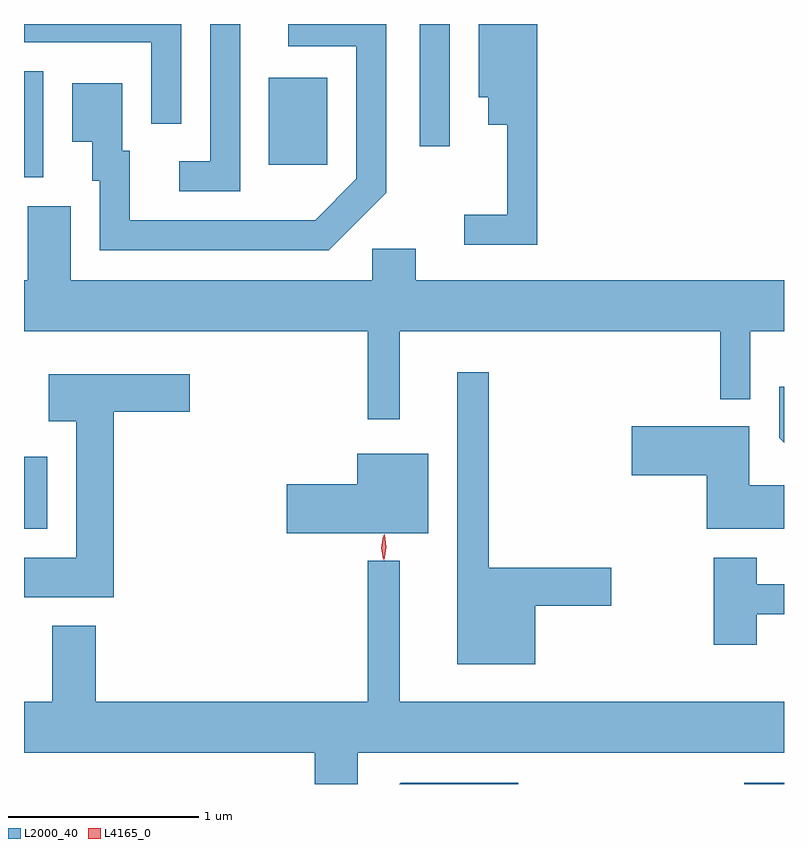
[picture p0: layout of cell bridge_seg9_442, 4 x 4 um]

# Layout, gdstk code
import gdstk
lib = gdstk.Library(unit=1e-6, precision=1e-09)
def R(c, l, rs):  # rectangles x0, y0, x1, y1
    for r in rs: c.add(gdstk.rectangle(r[:2], r[2:], *l))
def P(c, l, *ps):  # polygons
    for p in ps: c.add(gdstk.Polygon(p, *l))
L2000_40 = (2000, 40)
L4165_0 = (4165, 0)

bridge_seg9_442 = lib.new_cell('bridge_seg9_442')
R(bridge_seg9_442, L2000_40, [(430.083,1984.992,430.292,1984.999), (426.292,1986.336,426.414,1986.714), (426.292,1988.186,426.394,1988.744), (427.581,1988.251,427.889,1988.709), (428.376,1988.348,428.534,1988.992)])
P(bridge_seg9_442, L2000_40, [(428.994,1988.992),(428.686,1988.992),(428.686,1988.606),(428.736,1988.606),(428.736,1988.461),(428.836,1988.461),(428.836,1987.989),(428.608,1987.989),(428.608,1987.831),(428.994,1987.831)],
  [(428.199,1988.104),(428.199,1988.992),(427.683,1988.992),(427.683,1988.876),(428.041,1988.876),(428.041,1988.177),(427.824,1987.959),(426.849,1987.959),(426.849,1988.324),(426.809,1988.324),(426.809,1988.679),(426.546,1988.679),(426.546,1988.371),(426.651,1988.371),(426.651,1988.166),(426.691,1988.166),(426.691,1987.801),(427.897,1987.801)],
  [(427.429,1988.992),(427.271,1988.992),(427.271,1988.269),(427.108,1988.269),(427.108,1988.111),(427.429,1988.111)],
  [(427.119,1988.992),(426.292,1988.992),(426.292,1988.896),(426.961,1988.896),(426.961,1988.468),(427.119,1988.468)],
  [(428.269,1987.376),(429.956,1987.376),(429.956,1987.018),(430.114,1987.018),(430.114,1987.376),(430.292,1987.376),(430.292,1987.644),(428.354,1987.644),(428.354,1987.809),(428.126,1987.809),(428.126,1987.644),(426.539,1987.644),(426.539,1988.034),(426.311,1988.034),(426.311,1987.644),(426.292,1987.644),(426.292,1987.376),(428.101,1987.376),(428.101,1986.913),(428.269,1986.913)],
  [(428.984,1985.931),(429.384,1985.931),(429.384,1986.129),(428.739,1986.129),(428.739,1987.158),(428.571,1987.158),(428.571,1985.621),(428.984,1985.621)],
  [(426.764,1986.951),(427.164,1986.951),(427.164,1987.149),(426.421,1987.149),(426.421,1986.901),(426.566,1986.901),(426.566,1986.184),(426.292,1986.184),(426.292,1985.976),(426.764,1985.976)],
  [(430.292,1987.084),(430.266,1987.084),(430.266,1986.814),(430.292,1986.788)],
  [(430.292,1986.564),(430.109,1986.564),(430.109,1986.874),(429.491,1986.874),(429.491,1986.616),(429.886,1986.616),(429.886,1986.336),(430.292,1986.336)],
  [(428.419,1986.729),(428.046,1986.729),(428.046,1986.569),(427.676,1986.569),(427.676,1986.311),(428.419,1986.311)],
  [(430.149,1985.886),(430.292,1985.886),(430.292,1986.044),(430.149,1986.044),(430.149,1986.184),(429.921,1986.184),(429.921,1985.726),(430.149,1985.726)],
  [(428.049,1985.156),(430.292,1985.156),(430.292,1985.424),(428.269,1985.424),(428.269,1986.168),(428.101,1986.168),(428.101,1985.424),(426.669,1985.424),(426.669,1985.824),(426.441,1985.824),(426.441,1985.424),(426.292,1985.424),(426.292,1985.156),(427.821,1985.156),(427.821,1984.992),(428.049,1984.992)],
  [(428.894,1984.999),(428.274,1984.999),(428.267,1984.992),(428.894,1984.992)])
P(bridge_seg9_442, L4165_0, [(428.187,1986.17),(428.178,1986.238),(428.189,1986.305),(428.189,1986.306),(428.19,1986.305),(428.198,1986.238),(428.188,1986.17),(428.188,1986.17)],
  [(428.182,1986.173),(428.182,1986.173),(428.172,1986.236),(428.182,1986.299),(428.182,1986.3),(428.183,1986.299),(428.192,1986.236),(428.183,1986.173)])

lib.write_gds('bridge_seg9_442.gds')
